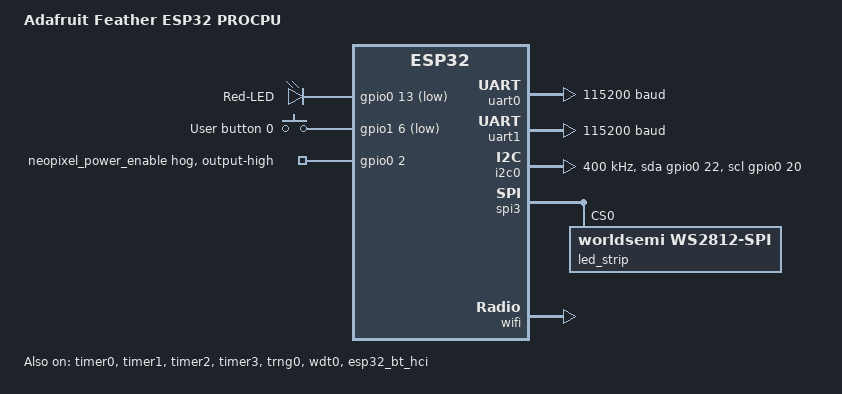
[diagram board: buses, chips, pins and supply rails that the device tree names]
/*
 * Copyright (c) 2025 Lena Voytek <lena@voytek.dev>
 *
 * SPDX-License-Identifier: Apache-2.0
 */
/dts-v1/;

#include <espressif/esp32/esp32_pico_v3_02.dtsi>
#include "adafruit_feather_esp32-pinctrl.dtsi"
#include <zephyr/dt-bindings/input/input-event-codes.h>
#include <zephyr/dt-bindings/led/led.h>
#include <zephyr/dt-bindings/led/worldsemi_ws2812c.h>
#include <espressif/partitions_0x1000_amp.dtsi>

/ {
	model = "Adafruit Feather ESP32 PROCPU";
	compatible = "adafruit,adafruit_feather_esp32";

	chosen {
		zephyr,sram = &sram1;
		zephyr,console = &uart0;
		zephyr,shell-uart = &uart0;
		zephyr,flash = &flash0;
		zephyr,code-partition = &slot0_partition;
		zephyr,bt-hci = &esp32_bt_hci;
	};

	aliases {
		sw0 = &user_button_0;
		watchdog0 = &wdt0;
		i2c-0 = &i2c0;
		led-strip = &led_strip;
	};

	leds {
		compatible = "gpio-leds";
		status = "okay";

		led0: led_0 {
			label = "Red-LED";
			gpios = <&gpio0 13 GPIO_ACTIVE_LOW>;
		};
	};

	gpio_keys {
		compatible = "gpio-keys";

		user_button_0: button_0 {
			label = "User button 0";
			gpios = <&gpio1 6 GPIO_ACTIVE_LOW>; // GPIO 38
			zephyr,code = <INPUT_KEY_0>;
		};
	};
};

&uart0 {
	status = "okay";
	current-speed = <115200>;
	pinctrl-0 = <&uart0_default>;
	pinctrl-names = "default";
};

&uart1 {
	status = "okay";
	current-speed = <115200>;
	pinctrl-0 = <&uart1_default>;
	pinctrl-names = "default";
};

&gpio0 {
	status = "okay";

	neopixel_power_enable {
		gpio-hog;
		gpios = <2 GPIO_ACTIVE_HIGH>;
		output-high;
	};
};

&gpio1 {
	status = "okay";
};

&i2c0 {
	status = "okay";
	clock-frequency = <I2C_BITRATE_FAST>;
	pinctrl-0 = <&i2c0_default>;
	pinctrl-names = "default";
	sda-gpios = <&gpio0 22 GPIO_OPEN_DRAIN>;
	scl-gpios = <&gpio0 20 GPIO_OPEN_DRAIN>;

};

&timer0 {
	status = "okay";
};

&timer1 {
	status = "okay";
};

&timer2 {
	status = "okay";
};

&timer3 {
	status = "okay";
};

&trng0 {
	status = "okay";
};

&spi2 {
	#address-cells = <1>;
	#size-cells = <0>;
	pinctrl-0 = <&spim2_default>;
	pinctrl-names = "default";
};

/* used for SK6812 */
&spi3 {
	#address-cells = <1>;
	#size-cells = <0>;
	status = "okay";
	line-idle-low;
	pinctrl-0 = <&spim3_ws2812_led>;
	pinctrl-names = "default";

	led_strip: ws2812@0 {
		compatible = "worldsemi,ws2812-spi";
		reg = <0>;
		spi-max-frequency = <WS2812C_SPI_FREQ>;

		chain-length = <1>;
		color-mapping =	<LED_COLOR_ID_GREEN>,
						<LED_COLOR_ID_RED>,
						<LED_COLOR_ID_BLUE>;
		spi-one-frame = <WS2812C_ONE_FRAME>;
		spi-zero-frame = <WS2812C_ZERO_FRAME>;
	};
};

&wdt0 {
	status = "okay";
};

&esp32_bt_hci {
	status = "okay";
};

&wifi {
	status = "okay";
};
